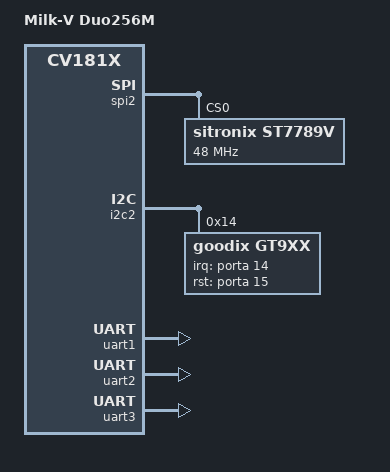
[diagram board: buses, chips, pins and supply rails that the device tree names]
/dts-v1/;
#include "cv181x_base_riscv.dtsi"
#include "cv181x_asic_qfn.dtsi"
#include "cv181x_asic_sd.dtsi"
#include "cv181x_default_memmap.dtsi"

&mipi_rx{
	snsr-reset = <&portc 17 GPIO_ACTIVE_LOW>, <&portc 17 GPIO_ACTIVE_LOW>, <&portc 17 GPIO_ACTIVE_LOW>;
};

&mipi_tx {
	/delete-property/ reset-gpio;
	/delete-property/ pwm-gpio;
	/delete-property/ power-ct-gpio;
};

&spi2 {
	status = "okay";

    /delete-node/ spidev@0;
    st7789v: st7789v@0{
        compatible = "sitronix,st7789v";
        reg = <0>;
        status = "okay";
        spi-max-frequency = <48000000>;
        spi-cpol;
        spi-cpha;
        rotate = <0>;
        fps = <60>;
        rgb;
        buswidth = <8>;

        dc = <&porta 24 GPIO_ACTIVE_HIGH>;
        reset = <&porta 23 GPIO_ACTIVE_HIGH>;

        debug = <0x0>;
	};
};

&i2c0 {
	status = "disabled";
};

&i2c2 {
    status = "okay";

	gt9xx: gt9xx@14 {
		compatible = "goodix,gt9xx";
		reg = <0x14>;
		goodix,irq-gpio = <&porta 14 0>;
		goodix,rst-gpio = <&porta 15 GPIO_ACTIVE_HIGH>;
		status = "okay";
	};
};

&i2c4 {
	status = "disabled";
};

&uart1 {
	status = "okay";
};

&uart2 {
	status = "okay";
};

&uart3 {
	status = "okay";
};

/ {
	model = "Milk-V Duo256M";
};

